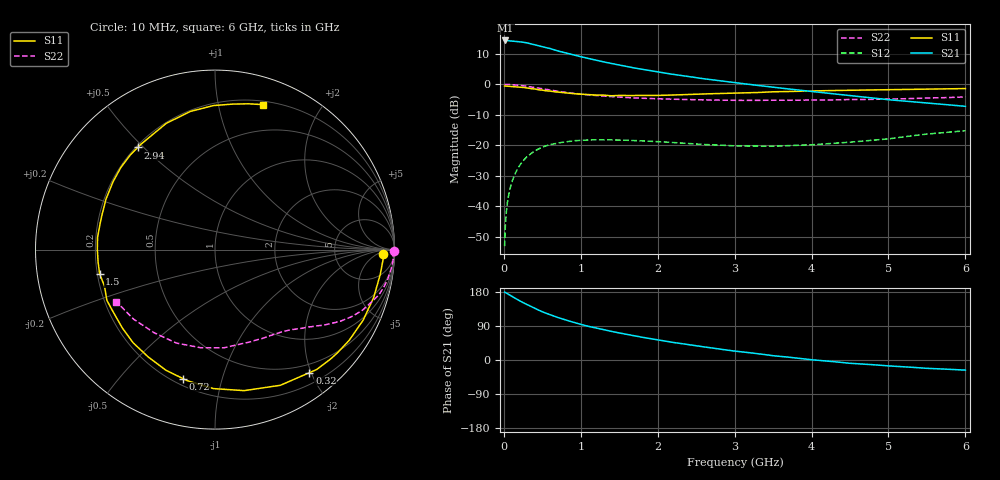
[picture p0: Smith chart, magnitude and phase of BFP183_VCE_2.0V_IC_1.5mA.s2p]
! Infineon Technologies  Discrete & RF Semiconductors
! BFP183
! VCE = 2.0 V,  IC =  1.5 mA
! Common Emitter S-Parameters:  Jan 2016
# GHz  S  MA  R  50
!  f  S11  S21  S12  S22
! GHz  MAG  ANG  MAG  ANG  MAG  ANG  MAG  ANG
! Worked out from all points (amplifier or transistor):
!   210 points, 10 MHz to 6 GHz, reference 50 ohm
!   highest |S21| = 14.4 dB at 20 MHz (marker M1)
!   |S21| within 3 dB of that: start of sweep to 644.7 MHz
!   unconditionally stable (mu >= 1): 2.236 GHz to end of sweep
!   at 185 MHz: K = 0.09, MSG = 20.8 dB, |S12| = -27.5 dB
!   at 1.52 GHz: K = 0.66, MSG = 12.3 dB, |S12| = -18.3 dB
!   at 6 GHz: K = 1.02, MAG = 3.1 dB, |S12| = -15.3 dB
!   S11 on the Smith chart (normalised r, x): 10 MHz: 27, -11; 320 MHz: 0.36, -1.97; 720 MHz: 0.24, -0.75; 1.5 GHz: 0.21, -0.10; 2.94 GHz: 0.21, +0.48; 6 GHz: 0.23, +1.36
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0.01  0.9382 -1.5  5.227 179.2  0.0022 84.7  0.9994 -0.6
0.02  0.938 -3.4  5.251 178.3  0.0049 89.0  0.9909 -1.2
0.05  0.9312 -8.4  5.219 174.2  0.0123 87.7  0.9945 -3.1
0.105  0.9217 -17.7  5.14 167.8  0.0248 79.4  0.9862 -6.6
0.22  0.8959 -37.1  4.968 154.7  0.0494 68.6  0.958 -13.4
0.32  0.8642 -52.5  4.722 144.6  0.0677 59.9  0.919 -18.6
0.4  0.8391 -64.3  4.476 136.2  0.0806 53.7  0.8888 -22.3
0.5  0.8024 -78.3  4.151 127.1  0.093 46.3  0.8462 -26.3
0.6  0.7744 -90.7  3.873 119.3  0.1023 40.3  0.8063 -29.6
0.72  0.7404 -104.0  3.488 111.0  0.1097 34.0  0.7632 -32.8
0.88  0.707 -119.9  3.102 101.0  0.1173 27.0  0.7186 -36.1
1.02  0.6868 -133.1  2.803 93.1  0.1206 21.8  0.6861 -38.8
1.22  0.6651 -149.1  2.454 83.4  0.1228 15.8  0.6523 -42.2
1.5  0.6569 -168.2  2.077 71.2  0.1211 9.9  0.6147 -46.4
1.8  0.6578 174.1  1.766 59.9  0.1182 5.8  0.5904 -50.9
2.02  0.6585 163.2  1.584 52.5  0.1145 3.6  0.5775 -54.4
2.4  0.6823 146.4  1.346 40.4  0.1068 1.8  0.5619 -61.5
2.94  0.7134 127.1  1.092 25.2  0.0985 4.3  0.5467 -72.3
3.1  0.721 122.3  1.03 21.4  0.0973 5.8  0.5447 -75.9
4.1  0.7843 98.2  0.74 -1.0  0.1037 17.9  0.5521 -101.3
5.1  0.819 82.0  0.545 -16.7  0.1322 25.1  0.5761 -128.9
6  0.8514 71.5  0.435 -26.7  0.1727 20.7  0.6215 -152.1
